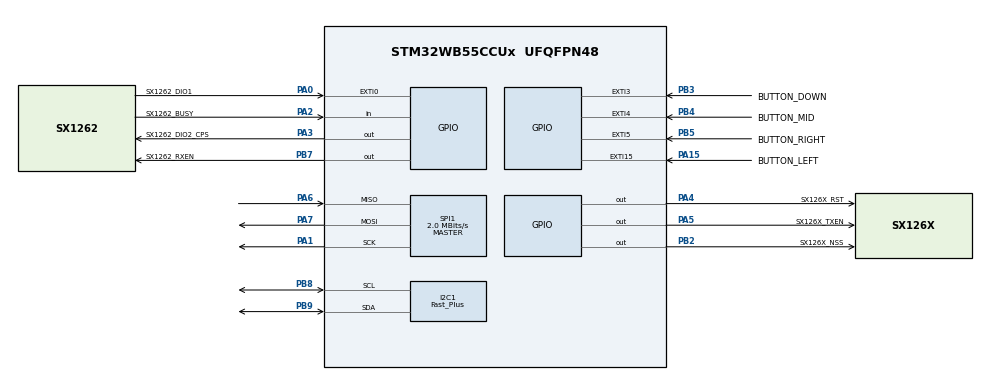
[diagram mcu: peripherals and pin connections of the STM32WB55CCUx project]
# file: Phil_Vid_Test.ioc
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FREERTOS.Queues01=Button_Queue,16,button_event_t,0,Dynamic,NULL,NULL;UI_Queue,16,ui_event_t,0,Dynamic,NULL,NULL
FREERTOS.Tasks01=UI_Task,24,256,UITask,Default,NULL,Dynamic,NULL,NULL;Button_Task,8,128,ButtonTask,Default,NULL,Dynamic,NULL,NULL
FREERTOS.configTOTAL_HEAP_SIZE=24*1024
FREERTOS.configUSE_NEWLIB_REENTRANT=1
I2C1.I2C_Speed_Mode=I2C_Fast_Plus
I2C1.Timing=0x0040040C
Mcu.Family=STM32WB
Mcu.Name=STM32WB55CCUx
Mcu.Package=UFQFPN48
NVIC.EXTI0_IRQn=true\:5\:0\:true\:false\:true\:false\:true\:true\:true
NVIC.EXTI15_10_IRQn=true\:5\:0\:true\:false\:true\:false\:true\:true\:true
NVIC.EXTI3_IRQn=true\:5\:0\:true\:false\:true\:false\:true\:true\:true
NVIC.EXTI4_IRQn=true\:5\:0\:true\:false\:true\:false\:true\:true\:true
NVIC.EXTI9_5_IRQn=true\:5\:0\:true\:false\:true\:false\:true\:true\:true
NVIC.HSEM_IRQn=true\:5\:0\:false\:false\:true\:true\:false\:true\:true
NVIC.IPCC_C1_RX_IRQn=true\:5\:0\:false\:false\:true\:true\:true\:true\:true
NVIC.IPCC_C1_TX_IRQn=true\:5\:0\:false\:false\:true\:true\:true\:true\:true
NVIC.PriorityGroup=NVIC_PRIORITYGROUP_4
NVIC.RTC_WKUP_IRQn=true\:5\:0\:false\:false\:true\:true\:true\:true\:true
NVIC.TIM1_UP_TIM16_IRQn=true\:15\:0\:false\:false\:true\:false\:false\:true\:true
NVIC.TimeBase=TIM1_UP_TIM16_IRQn
NVIC.TimeBaseIP=TIM1
OSC_IN.Mode=HSE-External-Oscillator
OSC_IN.Signal=RCC_OSC_IN
OSC_OUT.Mode=HSE-External-Oscillator
OSC_OUT.Signal=RCC_OSC_OUT
PA0.GPIO_Label=SX1262_DIO1
PA0.GPIO_ModeDefaultEXTI=GPIO_MODE_IT_RISING
PA0.GPIO_PuPd=GPIO_NOPULL
PA0.Signal=GPXTI0
PA1.Mode=Full_Duplex_Master
PA1.Signal=SPI1_SCK
PA13.Mode=Serial_Wire
PA13.Signal=SYS_JTMS-SWDIO
PA14.Mode=Serial_Wire
PA14.Signal=SYS_JTCK-SWCLK
PA15.GPIO_Label=BUTTON_LEFT
PA15.GPIO_ModeDefaultEXTI=GPIO_MODE_IT_FALLING
PA15.GPIO_PuPd=GPIO_PULLUP
PA15.Signal=GPXTI15
PA2.GPIO_Label=SX1262_BUSY
PA2.Signal=GPIO_Input
PA3.GPIO_Label=SX1262_DIO2_CPS
PA3.Signal=GPIO_Output
PA4.GPIO_Label=SX126X_RST
PA4.PinState=GPIO_PIN_SET
PA4.Signal=GPIO_Output
PA5.GPIO_Label=SX126X_TXEN
PA5.Signal=GPIO_Output
PA6.Mode=Full_Duplex_Master
PA6.Signal=SPI1_MISO
PA7.Mode=Full_Duplex_Master
PA7.Signal=SPI1_MOSI
PB2.GPIO_Label=SX126X_NSS
PB2.PinState=GPIO_PIN_SET
PB2.Signal=GPIO_Output
PB3.GPIO_Label=BUTTON_DOWN
PB3.GPIO_ModeDefaultEXTI=GPIO_MODE_IT_FALLING
PB3.GPIO_PuPd=GPIO_PULLUP
PB3.Signal=GPXTI3
PB4.GPIO_Label=BUTTON_MID
PB4.GPIO_ModeDefaultEXTI=GPIO_MODE_IT_FALLING
PB4.GPIO_PuPd=GPIO_PULLUP
PB4.Signal=GPXTI4
PB5.GPIO_Label=BUTTON_RIGHT
PB5.GPIO_ModeDefaultEXTI=GPIO_MODE_IT_FALLING
PB5.GPIO_PuPd=GPIO_PULLUP
PB5.Signal=GPXTI5
PB7.GPIO_Label=SX1262_RXEN
PB7.Signal=GPIO_Output
PB8.Mode=I2C
PB8.Signal=I2C1_SCL
PB9.Mode=I2C
PB9.Signal=I2C1_SDA
ProjectManager.HeapSize=0x200
ProjectManager.StackSize=0x400
ProjectManager.TargetToolchain=STM32CubeIDE
RCC.ADCFreq_Value=128000000
RCC.AHBFreq_Value=32000000
RCC.APB1Freq_Value=32000000
RCC.APB1TimFreq_Value=32000000
RCC.APB2Freq_Value=32000000
RCC.APB2TimFreq_Value=32000000
RCC.APB3Freq_Value=16000000
RCC.CortexFreq_Value=32000000
RCC.HCLKFreq_Value=32000000
RCC.HSE_VALUE=32000000
RCC.HSI48_VALUE=48000000
RCC.HSI_VALUE=16000000
RCC.LSE_VALUE=32768
RCC.MSIClockRange=RCC_MSIRANGE_10
RCC.SYSCLKFreq_VALUE=32000000
RCC.USBFreq_Value=128000000
RCC.VCOOutputFreq_Value=256000000
RF1.Mode=RF1_Activate
RF1.Signal=RF_RF1
SPI1.BaudRatePrescaler=SPI_BAUDRATEPRESCALER_16
SPI1.CalculateBaudRate=2.0 MBits/s
SPI1.DataSize=SPI_DATASIZE_8BIT
SPI1.Direction=SPI_DIRECTION_2LINES
SPI1.Mode=SPI_MODE_MASTER
SPI1.VirtualType=VM_MASTER
STM32_WPAN.BLE_APPLICATION_TYPE=BLE_SERVER_PROFILE
STM32_WPAN.BT_SIG_HEART_RATE_SENSOR=Enabled
STM32_WPAN.CFG_LSCLK_LSE=0
STM32_WPAN.INCLUDE_AD_TYPE_COMPLETE_LOCAL_NAME=1
STM32_WPAN.NUMBER_OF_SERVICES=1
STM32_WPAN.SERVICE1_CHAR1_GATT_NOTIFY_READ_REQ_AND_WAIT_FOR_APPL_RESP=\ 
STM32_WPAN.SERVICE1_CHAR1_GATT_NOTIFY_WRITE_REQ_AND_WAIT_FOR_APPL_RESP=\ 
STM32_WPAN.SERVICE1_CHAR1_LONG_NAME=charWrite
STM32_WPAN.SERVICE1_CHAR1_PROP_WRITE=CHAR_PROP_WRITE
STM32_WPAN.SERVICE1_CHAR1_SHORT_NAME=charWrite
STM32_WPAN.SERVICE1_LONG_NAME=goofball
STM32_WPAN.SERVICE1_SHORT_NAME=goof
VP_FREERTOS_VS_CMSIS_V2.Mode=CMSIS_V2
VP_HSEM_VS_HSEM.Mode=HSEM_Activate
VP_IPCC_VS_IPCC.Mode=IPCC_Activate
VP_MEMORYMAP_VS_MEMORYMAP.Mode=CurAppReg
VP_RTC_VS_RTC_Activate.Mode=RTC_Enabled
VP_RTC_VS_RTC_WakeUp_intern.Mode=WakeUp
VP_STM32_WPAN_VS_BLE_HOST.Mode=STM32_WPAN_Enabled
VP_SYS_VS_tim1.Mode=TIM1
VP_TINY_LPM_VS_TINY_LPM.Mode=TINY_LPM_Enabled
board=custom

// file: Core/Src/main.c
/* USER CODE BEGIN Header */
/**
  ******************************************************************************
  * @file           : main.c
  * @brief          : Main program body
  ******************************************************************************
  * @attention
  *
  * Copyright (c) 2026 STMicroelectronics.
  * All rights reserved.
  *
  * This software is licensed under terms that can be found in the LICENSE file
  * in the root directory of this software component.
  * If no LICENSE file comes with this software, it is provided AS-IS.
  *
  ******************************************************************************
  */
/* USER CODE END Header */
#include "main.h"
#include "cmsis_os2.h"
#include "FreeRTOS.h"

/* USER CODE BEGIN Includes */
#include "ui.h"
#include "ui_bridge.h"
#include "radio_control.h"
/* USER CODE END Includes */

/* USER CODE BEGIN PTD */
typedef enum
{
	INPUT_LEFT,
	INPUT_MID,
	INPUT_RIGHT,
	INPUT_DOWN
} button_event_t;

/* USER CODE END PTD */

I2C_HandleTypeDef hi2c1;

IPCC_HandleTypeDef hipcc;

RTC_HandleTypeDef hrtc;

SPI_HandleTypeDef hspi1;

/* Definitions for UI_Task */
osThreadId_t UI_TaskHandle;
const osThreadAttr_t UI_Task_attributes = {
  .name = "UI_Task",
  .priority = (osPriority_t) osPriorityNormal,
  .stack_size = 256 * 4
};
/* Definitions for Button_Task */
osThreadId_t Button_TaskHandle;
const osThreadAttr_t Button_Task_attributes = {
  .name = "Button_Task",
  .priority = (osPriority_t) osPriorityLow,
  .stack_size = 128 * 4
};
/* Definitions for Button_Queue */
osMessageQueueId_t Button_QueueHandle;
const osMessageQueueAttr_t Button_Queue_attributes = {
  .name = "Button_Queue"
};
/* Definitions for UI_Queue */
osMessageQueueId_t UI_QueueHandle;
const osMessageQueueAttr_t UI_Queue_attributes = {
  .name = "UI_Queue"
};

void SystemClock_Config(void);
void PeriphCommonClock_Config(void);
static void MX_GPIO_Init(void);
static void MX_IPCC_Init(void);
static void MX_RTC_Init(void);
static void MX_I2C1_Init(void);
static void MX_SPI1_Init(void);
static void MX_RF_Init(void);
void UITask(void *argument);
void ButtonTask(void *argument);

int main(void)
{

  /* MCU Configuration--------------------------------------------------------*/

  /* Reset of all peripherals, Initializes the Flash interface and the Systick. */
  HAL_Init();
  /* Config code for STM32_WPAN (HSE Tuning must be done before system clock configuration) */
  MX_APPE_Config();

  /* Configure the system clock */
  SystemClock_Config();

  /* Configure the peripherals common clocks */
  PeriphCommonClock_Config();

  /* IPCC initialisation */
  MX_IPCC_Init();

  /* Initialize all configured peripherals */
  MX_GPIO_Init();
  MX_RTC_Init();
  MX_I2C1_Init();
  MX_SPI1_Init();
  MX_RF_Init();
  /* USER CODE BEGIN 2 */
  SSD1306_Init();
  SSD1306_Clear();
  UI_Render();
  /* USER CODE END 2 */

  /* Init scheduler */
  osKernelInitialize();

  /* Create the queue(s) */
  /* creation of Button_Queue */
  Button_QueueHandle = osMessageQueueNew (16, sizeof(button_event_t), &Button_Queue_attributes);

  /* creation of UI_Queue */
  UI_QueueHandle = osMessageQueueNew (16, sizeof(ui_event_t), &UI_Queue_attributes);

  /* Create the thread(s) */
  /* creation of UI_Task */
  UI_TaskHandle = osThreadNew(UITask, NULL, &UI_Task_attributes);

  /* creation of Button_Task */
  Button_TaskHandle = osThreadNew(ButtonTask, NULL, &Button_Task_attributes);

  /* USER CODE BEGIN RTOS_THREADS */
  if (!RadioControl_Create()) Error_Handler();
  /* USER CODE END RTOS_THREADS */

  /* Init code for STM32_WPAN */
  MX_APPE_Init();

  /* Start scheduler */
  osKernelStart();

  /* We should never get here as control is now taken by the scheduler */

  /* Infinite loop */
  while (1)
  {

  }
}

void SystemClock_Config(void)
{
  RCC_OscInitTypeDef RCC_OscInitStruct = {0};
  RCC_ClkInitTypeDef RCC_ClkInitStruct = {0};

  /** Configure the main internal regulator output voltage
  */
  __HAL_PWR_VOLTAGESCALING_CONFIG(PWR_REGULATOR_VOLTAGE_SCALE1);

  /** Initializes the RCC Oscillators according to the specified parameters
  * in the RCC_OscInitTypeDef structure.
  */
  RCC_OscInitStruct.OscillatorType = RCC_OSCILLATORTYPE_HSI|RCC_OSCILLATORTYPE_LSI1
                              |RCC_OSCILLATORTYPE_HSE|RCC_OSCILLATORTYPE_MSI;
  RCC_OscInitStruct.HSEState = RCC_HSE_ON;
  RCC_OscInitStruct.HSIState = RCC_HSI_ON;
  RCC_OscInitStruct.MSIState = RCC_MSI_ON;
  RCC_OscInitStruct.HSICalibrationValue = RCC_HSICALIBRATION_DEFAULT;
  RCC_OscInitStruct.MSICalibrationValue = RCC_MSICALIBRATION_DEFAULT;
  RCC_OscInitStruct.MSIClockRange = RCC_MSIRANGE_10;
  RCC_OscInitStruct.LSIState = RCC_LSI_ON;
  RCC_OscInitStruct.PLL.PLLState = RCC_PLL_NONE;
  if (HAL_RCC_OscConfig(&RCC_OscInitStruct) != HAL_OK)
  {
    Error_Handler();
  }

  /** Configure the SYSCLKSource, HCLK, PCLK1 and PCLK2 clocks dividers
  */
  RCC_ClkInitStruct.ClockType = RCC_CLOCKTYPE_HCLK4|RCC_CLOCKTYPE_HCLK2
                              |RCC_CLOCKTYPE_HCLK|RCC_CLOCKTYPE_SYSCLK
                              |RCC_CLOCKTYPE_PCLK1|RCC_CLOCKTYPE_PCLK2;
  RCC_ClkInitStruct.SYSCLKSource = RCC_SYSCLKSOURCE_MSI;
  RCC_ClkInitStruct.AHBCLKDivider = RCC_SYSCLK_DIV1;
  RCC_ClkInitStruct.APB1CLKDivider = RCC_HCLK_DIV1;
  RCC_ClkInitStruct.APB2CLKDivider = RCC_HCLK_DIV1;
  RCC_ClkInitStruct.AHBCLK2Divider = RCC_SYSCLK_DIV1;
  RCC_ClkInitStruct.AHBCLK4Divider = RCC_SYSCLK_DIV1;

  if (HAL_RCC_ClockConfig(&RCC_ClkInitStruct, FLASH_LATENCY_1) != HAL_OK)
  {
    Error_Handler();
  }
}

void PeriphCommonClock_Config(void)
{
  RCC_PeriphCLKInitTypeDef PeriphClkInitStruct = {0};

  /** Initializes the peripherals clock
  */
  PeriphClkInitStruct.PeriphClockSelection = RCC_PERIPHCLK_SMPS|RCC_PERIPHCLK_RFWAKEUP;
  PeriphClkInitStruct.RFWakeUpClockSelection = RCC_RFWKPCLKSOURCE_HSE_DIV1024;
  PeriphClkInitStruct.SmpsClockSelection = RCC_SMPSCLKSOURCE_HSI;
  PeriphClkInitStruct.SmpsDivSelection = RCC_SMPSCLKDIV_RANGE1;

  if (HAL_RCCEx_PeriphCLKConfig(&PeriphClkInitStruct) != HAL_OK)
  {
    Error_Handler();
  }
}

static void MX_I2C1_Init(void)
{

  hi2c1.Instance = I2C1;
  hi2c1.Init.Timing = 0x0040040C;
  hi2c1.Init.OwnAddress1 = 0;
  hi2c1.Init.AddressingMode = I2C_ADDRESSINGMODE_7BIT;
  hi2c1.Init.DualAddressMode = I2C_DUALADDRESS_DISABLE;
  hi2c1.Init.OwnAddress2 = 0;
  hi2c1.Init.OwnAddress2Masks = I2C_OA2_NOMASK;
  hi2c1.Init.GeneralCallMode = I2C_GENERALCALL_DISABLE;
  hi2c1.Init.NoStretchMode = I2C_NOSTRETCH_DISABLE;
  if (HAL_I2C_Init(&hi2c1) != HAL_OK)
  {
    Error_Handler();
  }

  /** Configure Analogue filter
  */
  if (HAL_I2CEx_ConfigAnalogFilter(&hi2c1, I2C_ANALOGFILTER_ENABLE) != HAL_OK)
  {
    Error_Handler();
  }

  /** Configure Digital filter
  */
  if (HAL_I2CEx_ConfigDigitalFilter(&hi2c1, 0) != HAL_OK)
  {
    Error_Handler();
  }

  /** I2C Enable Fast Mode Plus
  */
  HAL_I2CEx_EnableFastModePlus(I2C_FASTMODEPLUS_I2C1);

}

static void MX_IPCC_Init(void)
{

  hipcc.Instance = IPCC;
  if (HAL_IPCC_Init(&hipcc) != HAL_OK)
  {
    Error_Handler();
  }

}

static void MX_RF_Init(void)
{

}

static void MX_RTC_Init(void)
{

  /** Initialize RTC Only
  */
  hrtc.Instance = RTC;
  hrtc.Init.HourFormat = RTC_HOURFORMAT_24;
  hrtc.Init.AsynchPrediv = CFG_RTC_ASYNCH_PRESCALER;
  hrtc.Init.SynchPrediv = CFG_RTC_SYNCH_PRESCALER;
  hrtc.Init.OutPut = RTC_OUTPUT_DISABLE;
  hrtc.Init.OutPutPolarity = RTC_OUTPUT_POLARITY_HIGH;
  hrtc.Init.OutPutType = RTC_OUTPUT_TYPE_OPENDRAIN;
  hrtc.Init.OutPutRemap = RTC_OUTPUT_REMAP_NONE;
  if (HAL_RTC_Init(&hrtc) != HAL_OK)
  {
    Error_Handler();
  }

  /** Enable the WakeUp
  */
  if (HAL_RTCEx_SetWakeUpTimer_IT(&hrtc, 0, RTC_WAKEUPCLOCK_RTCCLK_DIV16) != HAL_OK)
  {
    Error_Handler();
  }

}

static void MX_SPI1_Init(void)
{

  /* SPI1 parameter configuration*/
  hspi1.Instance = SPI1;
  hspi1.Init.Mode = SPI_MODE_MASTER;
  hspi1.Init.Direction = SPI_DIRECTION_2LINES;
  hspi1.Init.DataSize = SPI_DATASIZE_8BIT;
  hspi1.Init.CLKPolarity = SPI_POLARITY_LOW;
  hspi1.Init.CLKPhase = SPI_PHASE_1EDGE;
  hspi1.Init.NSS = SPI_NSS_SOFT;
  hspi1.Init.BaudRatePrescaler = SPI_BAUDRATEPRESCALER_16;
  hspi1.Init.FirstBit = SPI_FIRSTBIT_MSB;
  hspi1.Init.TIMode = SPI_TIMODE_DISABLE;
  hspi1.Init.CRCCalculation = SPI_CRCCALCULATION_DISABLE;
  hspi1.Init.CRCPolynomial = 7;
  hspi1.Init.CRCLength = SPI_CRC_LENGTH_DATASIZE;
  hspi1.Init.NSSPMode = SPI_NSS_PULSE_ENABLE;
  if (HAL_SPI_Init(&hspi1) != HAL_OK)
  {
    Error_Handler();
  }

}

static void MX_GPIO_Init(void)
{
  GPIO_InitTypeDef GPIO_InitStruct = {0};

  /* GPIO Ports Clock Enable */
  __HAL_RCC_GPIOB_CLK_ENABLE();
  __HAL_RCC_GPIOA_CLK_ENABLE();

  /*Configure GPIO pin Output Level */
  HAL_GPIO_WritePin(GPIOA, SX1262_DIO2_CPS_Pin|SX126X_TXEN_Pin, GPIO_PIN_RESET);

  /*Configure GPIO pin Output Level */
  HAL_GPIO_WritePin(SX126X_RST_GPIO_Port, SX126X_RST_Pin, GPIO_PIN_SET);

  /*Configure GPIO pin Output Level */
  HAL_GPIO_WritePin(SX126X_NSS_GPIO_Port, SX126X_NSS_Pin, GPIO_PIN_SET);
  HAL_GPIO_WritePin(SX1262_RXEN_GPIO_Port, SX1262_RXEN_Pin, GPIO_PIN_RESET);

  /*Configure GPIO pin : SX1262_BUSY_Pin */
  GPIO_InitStruct.Pin = SX1262_BUSY_Pin;
  GPIO_InitStruct.Mode = GPIO_MODE_INPUT;
  GPIO_InitStruct.Pull = GPIO_NOPULL;
  HAL_GPIO_Init(SX1262_BUSY_GPIO_Port, &GPIO_InitStruct);

  /*Configure GPIO pins : SX1262_DIO2_CPS_Pin SX126X_RST_Pin SX126X_TXEN_Pin */
  GPIO_InitStruct.Pin = SX1262_DIO2_CPS_Pin|SX126X_RST_Pin|SX126X_TXEN_Pin;
  GPIO_InitStruct.Mode = GPIO_MODE_OUTPUT_PP;
  GPIO_InitStruct.Pull = GPIO_NOPULL;
  GPIO_InitStruct.Speed = GPIO_SPEED_FREQ_LOW;
  HAL_GPIO_Init(GPIOA, &GPIO_InitStruct);

  /*Configure GPIO pins : SX126X_NSS_Pin SX1262_RXEN_Pin */
  GPIO_InitStruct.Pin = SX126X_NSS_Pin|SX1262_RXEN_Pin;
  GPIO_InitStruct.Mode = GPIO_MODE_OUTPUT_PP;
  GPIO_InitStruct.Pull = GPIO_NOPULL;
  GPIO_InitStruct.Speed = GPIO_SPEED_FREQ_LOW;
  HAL_GPIO_Init(GPIOB, &GPIO_InitStruct);

  /*Configure GPIO pin : SX1262_DIO1_Pin */
  GPIO_InitStruct.Pin = SX1262_DIO1_Pin;
  GPIO_InitStruct.Mode = GPIO_MODE_IT_RISING;
  GPIO_InitStruct.Pull = GPIO_NOPULL;
  HAL_GPIO_Init(SX1262_DIO1_GPIO_Port, &GPIO_InitStruct);

  /*Configure GPIO pin : BUTTON_LEFT_Pin */
  GPIO_InitStruct.Pin = BUTTON_LEFT_Pin;
  GPIO_InitStruct.Mode = GPIO_MODE_IT_FALLING;
  GPIO_InitStruct.Pull = GPIO_PULLUP;
  HAL_GPIO_Init(BUTTON_LEFT_GPIO_Port, &GPIO_InitStruct);

  /*Configure GPIO pins : BUTTON_DOWN_Pin BUTTON_MID_Pin BUTTON_RIGHT_Pin */
  GPIO_InitStruct.Pin = BUTTON_DOWN_Pin|BUTTON_MID_Pin|BUTTON_RIGHT_Pin;
  GPIO_InitStruct.Mode = GPIO_MODE_IT_FALLING;
  GPIO_InitStruct.Pull = GPIO_PULLUP;
  HAL_GPIO_Init(GPIOB, &GPIO_InitStruct);

  /* EXTI interrupt init*/
  /* Must remain >= configLIBRARY_MAX_SYSCALL_INTERRUPT_PRIORITY (5). */
  HAL_NVIC_SetPriority(EXTI0_IRQn, 5, 0);
  HAL_NVIC_EnableIRQ(EXTI0_IRQn);

  HAL_NVIC_SetPriority(EXTI3_IRQn, 5, 0);
  HAL_NVIC_EnableIRQ(EXTI3_IRQn);

  HAL_NVIC_SetPriority(EXTI4_IRQn, 5, 0);
  HAL_NVIC_EnableIRQ(EXTI4_IRQn);

  HAL_NVIC_SetPriority(EXTI9_5_IRQn, 5, 0);
  HAL_NVIC_EnableIRQ(EXTI9_5_IRQn);

  HAL_NVIC_SetPriority(EXTI15_10_IRQn, 5, 0);
  HAL_NVIC_EnableIRQ(EXTI15_10_IRQn);

}

/* USER CODE BEGIN 4 */
void HAL_GPIO_EXTI_Callback(uint16_t GPIO_Pin)
{
    /* ISR only signals the SX1262 radio thread; all SPI stays in that task. */
    if (GPIO_Pin == SX1262_DIO1_Pin)
    {
        RadioControl_DIO1_IRQHandler();
        return;
    }

	button_event_t event;

	if (GPIO_Pin == BUTTON_LEFT_Pin) event = INPUT_LEFT;
	else if (GPIO_Pin == BUTTON_MID_Pin) event = INPUT_MID;
	else if (GPIO_Pin == BUTTON_RIGHT_Pin) event = INPUT_RIGHT;
	else if (GPIO_Pin == BUTTON_DOWN_Pin) event = INPUT_DOWN;
	else return;

    /* The ISR can run before the RTOS queues have been created. */
    if (Button_QueueHandle == NULL) return;

	osStatus_t status = osMessageQueuePut(
			Button_QueueHandle,
			&event,
			0,
			0						// send to queue w/o waiting
	);

	(void)status;
}
/* USER CODE END 4 */

void UITask(void *argument)
{
  /* USER CODE BEGIN 5 */
	ui_event_t msg;

	    for (;;)
	    {
	        if (osMessageQueueGet(
	                UI_QueueHandle,
	                &msg,
	                NULL,
	                osWaitForever) != osOK)
	        {
	            continue;
	        }

	        switch (msg.type)
	        {
	        case UI_EVENT_BUTTON:

            switch (msg.data.button)
            {
            case INPUT_LEFT:
                UI_HandleInput(true, false, false, false);
                break;

            case INPUT_RIGHT:
                UI_HandleInput(false, true, false, false);
                break;

            case INPUT_MID:
                UI_HandleInput(false, false, true, false);
                break;

            case INPUT_DOWN:
                UI_HandleInput(false, false, false, true);
                break;

            default:
                break;
            }
	            break;

	        case UI_EVENT_BLE_TEXT:
	            UI_SetBLEText(msg.data.text);
	            break;

	        case UI_EVENT_TLM_READING:
            UI_AddTLMReading(&msg.data.tlm);
            break;

        case UI_EVENT_RADIO_STATUS:
            UI_SetRadioStatus(&msg.data.radio);
            break;

	        default:
	            break;
	        }

            /* UI requests are nonblocking; only RadioControl touches SPI. */
            radio_command_t cmd;
            if (UI_TakeRadioCommand(&cmd) && !RadioControl_Request(&cmd)) {
                const radio_report_t failed = { RADIO_STATE_ERROR, 0xFF };
                UI_SetRadioStatus(&failed);
            }
            UI_Render();
        }
  /* USER CODE END 5 */
}

void ButtonTask(void *argument)
{
  /* USER CODE BEGIN ButtonTask */
	button_event_t event;

	GPIO_TypeDef *port = NULL;
	uint16_t pin = 0;
  /* Infinite loop */
	for(;;)
	{
		if(osMessageQueueGet(Button_QueueHandle, &event, NULL, osWaitForever) == osOK)
		{
			switch (event)
			{
			case INPUT_LEFT:
				port = BUTTON_LEFT_GPIO_Port;
				pin = BUTTON_LEFT_Pin;
				break;
			case INPUT_MID:
				port = BUTTON_MID_GPIO_Port;
				pin = BUTTON_MID_Pin;
				break;
			case INPUT_RIGHT:
				port = BUTTON_RIGHT_GPIO_Port;
				pin = BUTTON_RIGHT_Pin;
				break;
			case INPUT_DOWN:
				port = BUTTON_DOWN_GPIO_Port;
				pin = BUTTON_DOWN_Pin;
				break;
			default:
				continue;
			};
			/* Debounce Button */
//			osDelay(20);

			if (HAL_GPIO_ReadPin(port, pin) == GPIO_PIN_RESET)
			{
				ui_event_t msg = {0};

				msg.type = UI_EVENT_BUTTON;
				msg.data.button = event;

				osMessageQueuePut(
						UI_QueueHandle,
						&msg,
						0,
						0						// send to queue w/o waiting
				);

				while (HAL_GPIO_ReadPin(port, pin) == GPIO_PIN_RESET)
				{
					osDelay(10);
				}
			}
		}
	}
  /* USER CODE END ButtonTask */
}

void HAL_TIM_PeriodElapsedCallback(TIM_HandleTypeDef *htim)
{
  if (htim->Instance == TIM1)
  {
    HAL_IncTick();
  }
}

void Error_Handler(void)
{
  __disable_irq();
  while (1)
  {
  }
}
